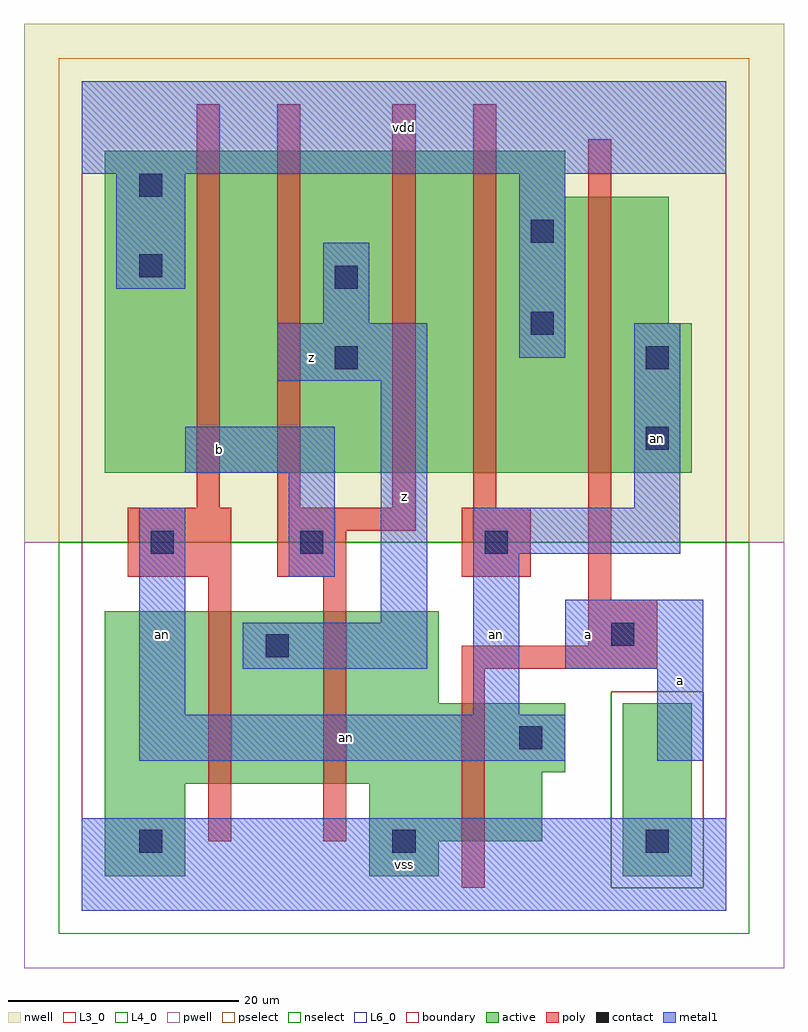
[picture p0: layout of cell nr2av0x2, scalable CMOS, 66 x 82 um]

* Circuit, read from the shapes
.subckt nr2av0x2 a an b vdd vss z
M1 z an vss vss nfet w=15u l=2u
M2 vss b z vss nfet w=15u l=2u
M3 an a vss vss nfet w=12u l=2u
M4 n1 an vdd n2 pfet w=28u l=2u
M5 z b n1 n2 pfet w=28u l=2u
M6 n3 b z n2 pfet w=28u l=2u
M7 vdd an n3 n2 pfet w=28u l=2u
M8 an a vdd n2 pfet w=24u l=2u
.ends

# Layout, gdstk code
import gdstk
lib = gdstk.Library(unit=1e-6, precision=1e-09)
def R(c, l, rs):  # rectangles x0, y0, x1, y1
    for r in rs: c.add(gdstk.rectangle(r[:2], r[2:], *l))
def A(c, l, x, y, w, h, nx, ny, dx, dy):  # array of equal rectangles
    R(c, l, [(x+i*dx, y+j*dy, x+i*dx+w, y+j*dy+h) for i in range(nx) for j in range(ny)])
L3_0 = (3, 0)
L4_0 = (4, 0)
L6_0 = (6, 0)
contact = (25, 0)
pwell = (41, 0)
nwell = (42, 0)
active = (43, 0)
pselect = (44, 0)
nselect = (45, 0)
poly = (46, 0)
metal1 = (49, 0)
boundary = (63, 0)

nr2av0x2 = lib.new_cell('nr2av0x2')
R(nr2av0x2, L3_0, [(2,3,9,11), (25,3,31,6), (25,6,40,11), (2,11,40,12), (2,12,42,18), (2,18,31,26)])
R(nr2av0x2, L4_0, [(2,38,53,51), (2,51,51,62), (2,62,42,66)])
R(nr2av0x2, L6_0, [(47,3,53,18)])
A(nr2av0x2, contact, 5, 5, 2, 2, 3, 1, 22, 0)
R(nr2av0x2, contact, [(38,14,40,16), (16,22,18,24), (46,23,48,25), (6,31,8,33), (19,31,21,33), (35,31,37,33), (49,40,51,42), (22,47,24,49), (49,47,51,49), (39,50,41,52), (22,54,24,56), (5,55,7,57), (39,58,41,60), (5,62,7,64)])
R(nr2av0x2, pwell, [(-5,-5,61,32)])
R(nr2av0x2, nwell, [(-5,32,61,77)])
R(nr2av0x2, active, [(2,3,9,11), (25,3,31,6), (47,3,53,18), (25,6,40,11), (2,11,40,12), (2,12,42,18), (2,18,31,26), (2,38,53,51), (2,51,51,62), (2,62,42,66)])
R(nr2av0x2, pselect, [(46,2,54,19), (-2,32,58,74)])
R(nr2av0x2, nselect, [(-2,-2,58,2), (-2,2,46,19), (54,2,58,19), (-2,19,58,32)])
R(nr2av0x2, poly, [(33,2,35,21), (11,6,13,29), (21,6,23,29), (33,21,50,23), (44,23,50,27), (44,27,46,67), (4,29,13,35), (17,29,23,33), (33,29,39,35), (17,33,29,35), (10,35,12,70), (17,35,19,70), (27,35,29,70), (34,35,36,70)])
R(nr2av0x2, metal1, [(0,0,56,8), (5,13,42,17), (50,13,54,21), (5,17,9,35), (34,17,38,31), (14,21,30,25), (42,21,54,27), (26,25,30,46), (18,29,22,38), (34,31,52,35), (48,35,52,51), (9,38,22,42), (17,46,30,51), (38,48,42,64), (21,51,25,58), (3,54,9,64), (0,64,56,72)])
R(nr2av0x2, boundary, [(0,0,56,72)])
nr2av0x2.add(gdstk.Label('an', (7,24), layer=49, texttype=0))
nr2av0x2.add(gdstk.Label('an', (23,15), layer=49, texttype=0))
nr2av0x2.add(gdstk.Label('an', (36,24), layer=49, texttype=0))
nr2av0x2.add(gdstk.Label('an', (50,41), layer=49, texttype=0))
nr2av0x2.add(gdstk.Label('b', (12,40), layer=49, texttype=0))
nr2av0x2.add(gdstk.Label('z', (20,48), layer=49, texttype=0))
nr2av0x2.add(gdstk.Label('vss', (28,4), layer=49, texttype=0))
nr2av0x2.add(gdstk.Label('z', (28,36), layer=49, texttype=0))
nr2av0x2.add(gdstk.Label('vdd', (28,68), layer=49, texttype=0))
nr2av0x2.add(gdstk.Label('a', (52,20), layer=49, texttype=0))
nr2av0x2.add(gdstk.Label('a', (44,24), layer=49, texttype=0))

lib.write_gds('nr2av0x2.gds')
